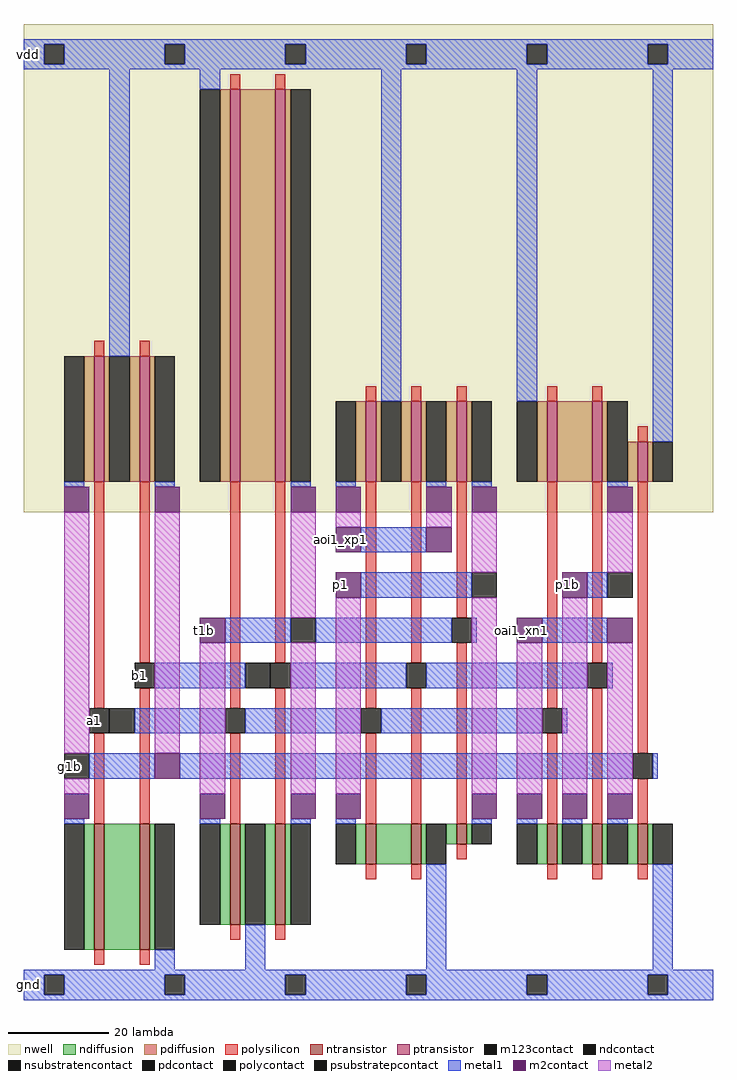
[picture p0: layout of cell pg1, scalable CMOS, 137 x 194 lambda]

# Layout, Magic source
magic
tech scmos
<< nwell >>
rect 0 97 137 194
<< ntransistor >>
rect 14 10 16 35
rect 23 10 25 35
rect 41 15 43 35
rect 50 15 52 35
rect 68 27 70 35
rect 77 27 79 35
rect 86 31 88 35
rect 104 27 106 35
rect 113 27 115 35
rect 122 27 124 35
<< ptransistor >>
rect 14 103 16 128
rect 23 103 25 128
rect 41 103 43 181
rect 50 103 52 181
rect 68 103 70 119
rect 77 103 79 119
rect 86 103 88 119
rect 104 103 106 119
rect 113 103 115 119
rect 122 103 124 111
<< ndiffusion >>
rect 12 10 14 35
rect 16 10 23 35
rect 25 10 26 35
rect 39 15 41 35
rect 43 15 44 35
rect 48 15 50 35
rect 52 15 53 35
rect 66 27 68 35
rect 70 27 77 35
rect 79 27 80 35
rect 84 31 86 35
rect 88 31 89 35
rect 102 27 104 35
rect 106 27 107 35
rect 111 27 113 35
rect 115 27 116 35
rect 120 27 122 35
rect 124 27 125 35
<< pdiffusion >>
rect 12 103 14 128
rect 16 103 17 128
rect 21 103 23 128
rect 25 103 26 128
rect 39 103 41 181
rect 43 103 50 181
rect 52 103 53 181
rect 66 103 68 119
rect 70 103 71 119
rect 75 103 77 119
rect 79 103 80 119
rect 84 103 86 119
rect 88 103 89 119
rect 102 103 104 119
rect 106 103 113 119
rect 115 103 116 119
rect 120 103 122 111
rect 124 103 125 111
<< ndcontact >>
rect 8 10 12 35
rect 26 10 30 35
rect 35 15 39 35
rect 44 15 48 35
rect 53 15 57 35
rect 62 27 66 35
rect 80 27 84 35
rect 89 31 93 35
rect 98 27 102 35
rect 107 27 111 35
rect 116 27 120 35
rect 125 27 129 35
<< pdcontact >>
rect 8 103 12 128
rect 17 103 21 128
rect 26 103 30 128
rect 35 103 39 181
rect 53 103 57 181
rect 62 103 66 119
rect 71 103 75 119
rect 80 103 84 119
rect 89 103 93 119
rect 98 103 102 119
rect 116 103 120 119
rect 125 103 129 111
<< psubstratepcontact >>
rect 4 1 8 5
rect 28 1 32 5
rect 52 1 56 5
rect 76 1 80 5
rect 100 1 104 5
rect 124 1 128 5
<< nsubstratencontact >>
rect 4 186 8 190
rect 28 186 32 190
rect 52 186 56 190
rect 76 186 80 190
rect 100 186 104 190
rect 124 186 128 190
<< polysilicon >>
rect 41 181 43 184
rect 50 181 52 184
rect 14 128 16 131
rect 23 128 25 131
rect 68 119 70 122
rect 77 119 79 122
rect 86 119 88 122
rect 104 119 106 122
rect 113 119 115 122
rect 122 111 124 114
rect 14 58 16 103
rect 23 67 25 103
rect 14 35 16 53
rect 23 35 25 62
rect 41 58 43 103
rect 50 67 52 103
rect 41 35 43 53
rect 50 35 52 62
rect 68 58 70 103
rect 77 67 79 103
rect 86 76 88 103
rect 68 35 70 53
rect 77 35 79 62
rect 86 35 88 71
rect 104 58 106 103
rect 113 67 115 103
rect 104 35 106 53
rect 113 35 115 62
rect 122 49 124 103
rect 122 35 124 44
rect 86 28 88 31
rect 68 24 70 27
rect 77 24 79 27
rect 104 24 106 27
rect 113 24 115 27
rect 122 24 124 27
rect 41 12 43 15
rect 50 12 52 15
rect 14 7 16 10
rect 23 7 25 10
<< polycontact >>
rect 22 62 26 67
rect 13 53 17 58
rect 49 62 53 67
rect 40 53 44 58
rect 85 71 89 76
rect 76 62 80 67
rect 67 53 71 58
rect 112 62 116 67
rect 103 53 107 58
rect 121 44 125 49
<< metal1 >>
rect 0 190 137 191
rect 0 186 4 190
rect 8 186 28 190
rect 32 186 52 190
rect 56 186 76 190
rect 80 186 100 190
rect 104 186 124 190
rect 128 186 137 190
rect 0 185 137 186
rect 17 128 21 185
rect 35 181 39 185
rect 71 119 75 185
rect 98 119 102 185
rect 8 102 12 103
rect 26 102 30 103
rect 53 102 57 103
rect 62 102 66 103
rect 80 102 84 103
rect 125 111 129 185
rect 89 102 93 103
rect 116 102 120 103
rect 67 89 80 94
rect 67 80 89 85
rect 112 80 116 85
rect 40 71 53 76
rect 58 71 85 76
rect 89 71 90 76
rect 103 71 116 76
rect 26 62 44 67
rect 53 62 76 67
rect 80 62 112 67
rect 116 62 117 67
rect 22 53 40 58
rect 44 53 67 58
rect 71 53 103 58
rect 107 53 108 58
rect 13 44 26 49
rect 31 44 121 49
rect 125 44 126 49
rect 8 35 12 36
rect 35 35 39 36
rect 53 35 57 36
rect 62 35 66 36
rect 89 35 93 36
rect 98 35 102 36
rect 107 35 111 36
rect 116 35 120 36
rect 26 6 30 10
rect 44 6 48 15
rect 80 6 84 27
rect 125 6 129 27
rect 0 5 137 6
rect 0 1 4 5
rect 8 1 28 5
rect 32 1 52 5
rect 56 1 76 5
rect 80 1 100 5
rect 104 1 124 5
rect 128 1 137 5
rect 0 0 137 1
<< m2contact >>
rect 8 97 13 102
rect 26 97 31 102
rect 53 97 58 102
rect 62 97 67 102
rect 80 97 85 102
rect 89 97 94 102
rect 116 97 121 102
rect 62 89 67 94
rect 80 89 85 94
rect 62 80 67 85
rect 107 80 112 85
rect 35 71 40 76
rect 98 71 103 76
rect 116 71 121 76
rect 26 44 31 49
rect 8 36 13 41
rect 35 36 40 41
rect 53 36 58 41
rect 62 36 67 41
rect 89 36 94 41
rect 98 36 103 41
rect 107 36 112 41
rect 116 36 121 41
<< metal2 >>
rect 8 49 13 97
rect 26 49 31 97
rect 53 76 58 97
rect 62 94 67 97
rect 80 94 85 97
rect 89 85 94 97
rect 116 85 121 97
rect 8 41 13 44
rect 35 41 40 71
rect 53 41 58 71
rect 62 41 67 80
rect 89 41 94 80
rect 98 41 103 71
rect 107 41 112 80
rect 116 41 121 71
<< m123contact >>
rect 17 53 22 58
rect 8 44 13 49
rect 53 71 58 76
rect 44 62 49 67
rect 89 80 94 85
rect 116 80 121 85
<< labels >>
rlabel metal1 13 53 15 58 0 a1
port 1 nsew
rlabel metal1 22 62 24 67 0 b1
port 2 nsew
rlabel metal1 8 44 10 49 0 g1b
port 3 nsew
rlabel m2contact 62 80 64 85 0 p1
port 4 nsew
rlabel m2contact 107 80 109 85 0 p1b
port 5 nsew
rlabel m2contact 35 71 37 76 0 t1b
port 6 nsew
rlabel m2contact 62 89 64 94 0 aoi1_xp1
rlabel m2contact 98 71 100 76 0 oai1_xn1
rlabel metal1 0 185 2 191 0 vdd
port 7 nsew
rlabel metal1 0 0 2 6 0 gnd
port 8 nsew
<< end >>
